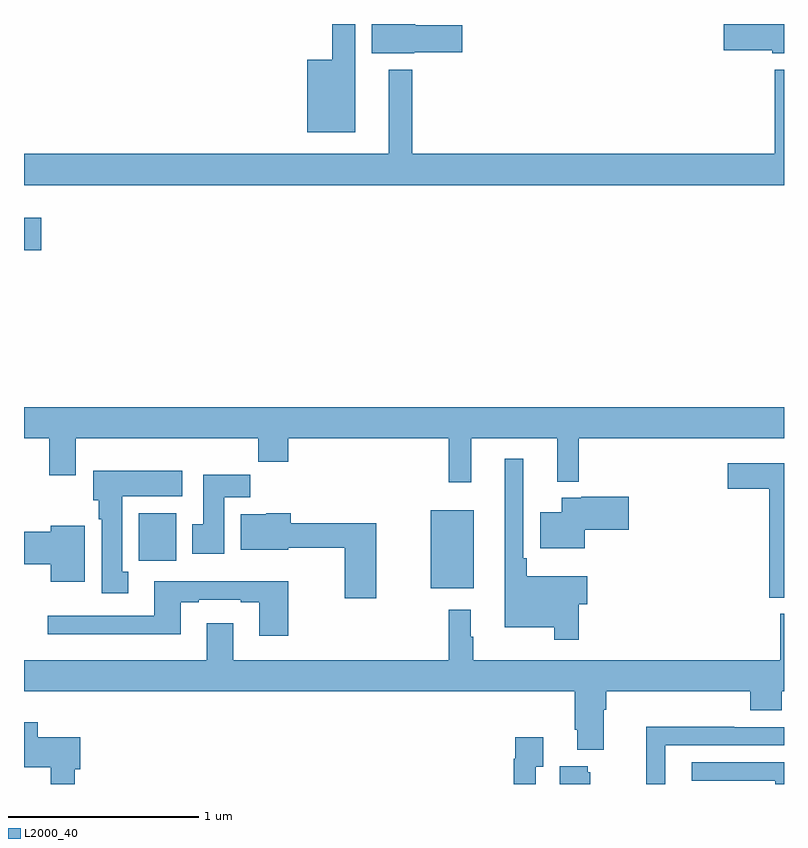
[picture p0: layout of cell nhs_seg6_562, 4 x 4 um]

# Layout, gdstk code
import gdstk
lib = gdstk.Library(unit=1e-6, precision=1e-09)
def R(c, l, rs):  # rectangles x0, y0, x1, y1
    for r in rs: c.add(gdstk.rectangle(r[:2], r[2:], *l))
def P(c, l, *ps):  # polygons
    for p in ps: c.add(gdstk.Polygon(p, *l))
L2000_40 = (2000, 40)

nhs_seg6_562 = lib.new_cell('nhs_seg6_562')
R(nhs_seg6_562, L2000_40, [(147.14,962.531,147.367,962.941), (145.605,962.676,145.801,962.926), (145,964.31,145.09,964.48)])
P(nhs_seg6_562, L2000_40, [(147.054,965.351),(147.307,965.351),(147.307,965.493),(147.058,965.493),(147.058,965.5),(146.831,965.5),(146.831,965.345),(147.054,965.345)],
  [(146.743,965.5),(146.622,965.5),(146.622,965.311),(146.492,965.311),(146.492,964.931),(146.743,964.931)],
  [(149,965.5),(148.682,965.5),(148.682,965.363),(148.938,965.363),(148.938,965.345),(149,965.345)],
  [(149,965.26),(148.95,965.26),(148.95,964.816),(147.043,964.816),(147.043,965.26),(146.921,965.26),(146.921,964.816),(145,964.816),(145,964.652),(149,964.652)],
  [(147.353,963.32),(147.806,963.32),(147.806,963.092),(147.919,963.092),(147.919,963.32),(149,963.32),(149,963.484),(145,963.484),(145,963.32),(145.133,963.32),(145.133,963.126),(145.273,963.126),(145.273,963.32),(146.233,963.32),(146.233,963.196),(146.39,963.196),(146.39,963.32),(147.235,963.32),(147.235,963.087),(147.353,963.087)],
  [(147.92,962.446),(147.964,962.446),(147.964,962.593),(147.647,962.593),(147.647,962.689),(147.627,962.689),(147.627,963.211),(147.53,963.211),(147.53,962.324),(147.792,962.324),(147.792,962.259),(147.92,962.259)],
  [(149,963.187),(148.704,963.187),(148.704,963.053),(148.922,963.053),(148.922,962.48),(149,962.48)],
  [(145.549,962.617),(145.516,962.617),(145.516,963.014),(145.834,963.014),(145.834,963.148),(145.364,963.148),(145.364,962.994),(145.394,962.994),(145.394,962.894),(145.409,962.894),(145.409,962.505),(145.549,962.505)],
  [(146.053,963.008),(146.192,963.008),(146.192,963.127),(145.943,963.127),(145.943,962.868),(145.886,962.868),(145.886,962.712),(146.053,962.712)],
  [(147.952,962.837),(148.183,962.837),(148.183,963.012),(147.934,963.012),(147.934,963.007),(147.83,963.007),(147.83,962.929),(147.716,962.929),(147.716,962.741),(147.952,962.741)],
  [(146.854,962.872),(146.405,962.872),(146.405,962.926),(146.274,962.926),(146.274,962.92),(146.141,962.92),(146.141,962.732),(146.392,962.732),(146.392,962.743),(146.689,962.743),(146.689,962.478),(146.854,962.478)],
  [(145.321,962.86),(145.142,962.86),(145.142,962.828),(145,962.828),(145,962.657),(145.142,962.657),(145.142,962.564),(145.321,962.564)],
  [(146.39,962.566),(145.685,962.566),(145.685,962.385),(145.125,962.385),(145.125,962.288),(145.825,962.288),(145.825,962.457),(145.921,962.457),(145.921,962.469),(146.141,962.469),(146.141,962.457),(146.237,962.457),(146.237,962.28),(146.39,962.28)],
  [(147.235,962.416),(147.235,962.152),(146.101,962.152),(146.101,962.347),(145.961,962.347),(145.961,962.152),(145,962.152),(145,961.988),(147.899,961.988),(147.899,961.786),(147.911,961.786),(147.911,961.679),(148.051,961.679),(148.051,961.892),(148.064,961.892),(148.064,961.988),(148.823,961.988),(148.823,961.889),(148.988,961.889),(148.988,961.988),(149,961.988),(149,962.395),(148.979,962.395),(148.979,962.152),(147.364,962.152),(147.364,962.276),(147.352,962.276),(147.352,962.416)],
  [(145.268,961.577),(145.295,961.577),(145.295,961.747),(145.073,961.747),(145.073,961.825),(145,961.825),(145,961.589),(145.14,961.589),(145.14,961.5),(145.268,961.5)],
  [(148.374,961.704),(149,961.704),(149,961.8),(148.739,961.8),(148.739,961.802),(148.276,961.802),(148.276,961.5),(148.374,961.5)],
  [(147.693,961.591),(147.733,961.591),(147.733,961.747),(147.585,961.747),(147.585,961.634),(147.577,961.634),(147.577,961.5),(147.693,961.5)],
  [(149,961.614),(148.515,961.614),(148.515,961.518),(148.953,961.518),(148.953,961.5),(149,961.5)],
  [(147.979,961.563),(147.968,961.563),(147.968,961.594),(147.821,961.594),(147.821,961.5),(147.979,961.5)])

lib.write_gds('nhs_seg6_562.gds')
